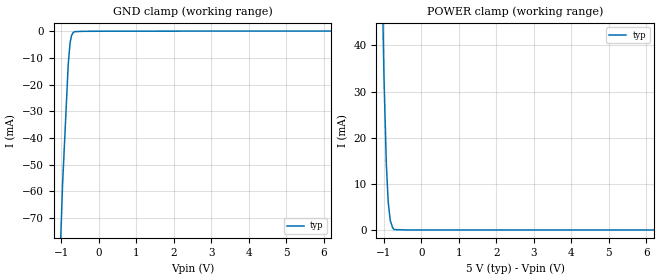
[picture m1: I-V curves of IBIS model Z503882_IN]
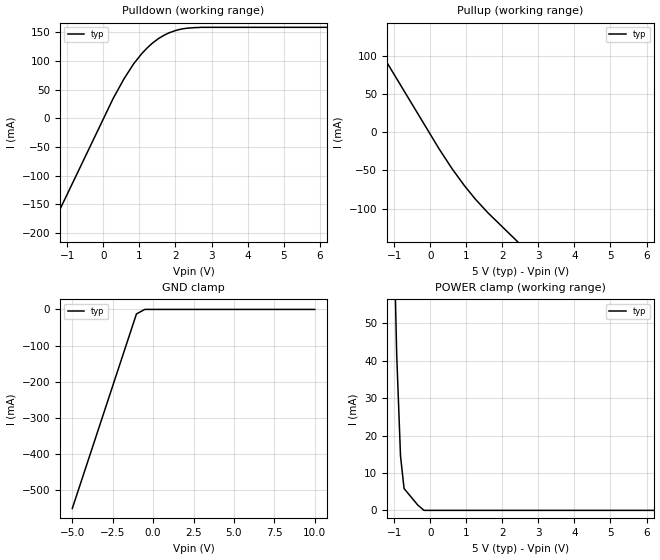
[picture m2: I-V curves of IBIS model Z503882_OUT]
| YOU ARE ONLY AUTHORIZED TO USE THIS SOFTWARE
| ACCORDING TO LICENSOR'S LICENSE RESTRICTIONS.
[IBIS Ver] 3.1
[File Name] mc74act810n.ibs
[File Rev] 2.0
[Source] Measured and created by ICX Technology
[Date] Friday 7/14/00 9:08:02 AM
[Copyright]
| (C) COPYRIGHT 1993-2000
| MENTOR GRAPHICS CORPORATION
| ICX STANDARD LIBRARY, ICX PROJECT MODELING,
| ICX CUSTOM MODELING, ICX VENDOR MODEL
| ALL RIGHTS RESERVED.
| THE FOLLOWING ARE TRADEMARKS OR SERVICE MARKS OF
| MENTOR GRAPHICS CORPORATION:ICX (R), ICX STANDARD
| LIBRARY(R), ICX PROJECT MODELING(R), ICX CUSTOM
| MODELING(R), qualityIBIS(TM), MODELVIEWER(TM),
| AND MODELEDITOR(TM)
| ALL COPIES OF SOFTWARE, INCLUDING BUT NOT LIMITED TO
| ANY MODIFICATIONS, ENHANCEMENTS OR DERIVATIVE WORKS,
| MUST CONTAIN ALL MENTOR GRAPHICS CORPORATION'S
| NOTICES AND LEGENDS, INCLUDING THOSE EMBEDDED IN
| SOFTWARE AND THOSE AFFIXED TO SOFTWARE MEDIUM
| AND CONTAINER, AS RECEIVED FROM MENTOR GRAPHICS
| CORPORATION.
|  ZAP Model Builder 2.7
[Component] MC74ACT810N
[Manufacturer] OnSemiconductor
[Package]
| variable   typ   min   max
R_pkg  .21ohms NA NA
L_pkg  4.543nH NA NA
C_pkg  1.059pF NA NA
[Pin] signal_name  model_name  R_pin  L_pin C_pin
1 A Z503882_IN .22 6.757n 1.432p
2 B Z503882_IN .212 4.757n 1.142p
3 Y Z503882_OUT .204 3.257n .852p
4 A Z503882_IN .196 2.257n .562p
5 B Z503882_IN .204 3.257n .852p
6 Y Z503882_OUT .212 4.757n 1.142p
7 GND GND .22 6.757n 1.432p
8 Y Z503882_OUT .22 6.757n 1.432p
9 A Z503882_IN .212 4.757n 1.142p
10 B Z503882_IN .204 3.257n .852p
11 Y Z503882_OUT .196 2.257n .562p
12 A Z503882_IN .204 3.257n .852p
13 B Z503882_IN .212 4.757n 1.142p
14 VCC POWER .22 6.757n 1.432p
| Models and submodels in the file (2): Z503882_IN (Input), Z503882_OUT (Output)
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| (C) COPYRIGHT 1993-2000
| MENTOR GRAPHICS CORPORATION
| ICX STANDARD LIBRARY, ICX PROJECT MODELING,
| ICX CUSTOM MODELING, ICX VENDOR MODEL
| ALL RIGHTS RESERVED.
| THE FOLLOWING ARE TRADEMARKS OR SERVICE MARKS OF
| MENTOR GRAPHICS CORPORATION:ICX (R), ICX STANDARD
| LIBRARY(R), ICX PROJECT MODELING(R), ICX CUSTOM
| MODELING(R), qualityIBIS(TM), MODELVIEWER(TM),
| AND MODELEDITOR(TM)
| ALL COPIES OF SOFTWARE, INCLUDING BUT NOT LIMITED TO
| ANY MODIFICATIONS, ENHANCEMENTS OR DERIVATIVE WORKS,
| MUST CONTAIN ALL MENTOR GRAPHICS CORPORATION'S
| NOTICES AND LEGENDS, INCLUDING THOSE EMBEDDED IN
| SOFTWARE AND THOSE AFFIXED TO SOFTWARE MEDIUM
| AND CONTAINER, AS RECEIVED FROM MENTOR GRAPHICS
| CORPORATION.
| Model Application Version 1.89 2/18/99.
[Model] Z503882_IN
Model_type Input
Vinl = 800.0mV
Vinh = 2.000V
C_comp 4.000pF NA NA
| variable typ   min   max
[Voltage Range] 5.000V NA NA
[GND Clamp Reference] 0.000V NA NA
[POWER Clamp Reference] 5.000V NA NA
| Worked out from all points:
|   GND clamp passes 1 mA (typ) near -0.71 V on its own axis
|   POWER clamp passes 1 mA (typ) near -0.79 V on its own axis
[GND Clamp]
-5V       -2.171A    NA         NA
-1.05V    -92.02mA   NA         NA
-966.6mV  -57.27mA   NA         NA
-815.3mV  -12.18mA   NA         NA
-765.6mV  -4.192mA   NA         NA
-727.9mV  -1.511mA   NA         NA
-684.2mV  -397.4uA   NA         NA
-645.4mV  -64.27uA   NA         NA
10V       160.4uA    NA         NA
[POWER Clamp]
-5V       2.969A     NA         NA
-1.147V   113.8mA    NA         NA
-1.049V   56.36mA    NA         NA
-996mV    33.17mA    NA         NA
-933mV    14.33mA    NA         NA
-884mV    6.114mA    NA         NA
-829mV    2.072mA    NA         NA
-767mV    536.2uA    NA         NA
-728mV    85.6uA     NA         NA
-364mV    0A         NA         NA
10V       0A         NA         NA
| (C) COPYRIGHT 1993-2000
| MENTOR GRAPHICS CORPORATION
| ICX STANDARD LIBRARY, ICX PROJECT MODELING,
| ICX CUSTOM MODELING, ICX VENDOR MODEL
| ALL RIGHTS RESERVED.
| THE FOLLOWING ARE TRADEMARKS OR SERVICE MARKS OF
| MENTOR GRAPHICS CORPORATION:ICX (R), ICX STANDARD
| LIBRARY(R), ICX PROJECT MODELING(R), ICX CUSTOM
| MODELING(R), qualityIBIS(TM), MODELVIEWER(TM),
| AND MODELEDITOR(TM)
| ALL COPIES OF SOFTWARE, INCLUDING BUT NOT LIMITED TO
| ANY MODIFICATIONS, ENHANCEMENTS OR DERIVATIVE WORKS,
| MUST CONTAIN ALL MENTOR GRAPHICS CORPORATION'S
| NOTICES AND LEGENDS, INCLUDING THOSE EMBEDDED IN
| SOFTWARE AND THOSE AFFIXED TO SOFTWARE MEDIUM
| AND CONTAINER, AS RECEIVED FROM MENTOR GRAPHICS
| CORPORATION.
| Model Application Version 1.89 2/18/99.
[Model] Z503882_OUT
Model_type Output
Vref=0.000V
Rref=500.0ohms
Cref=50.00pF
Vmeas=1.500V
C_comp 8.000pF NA NA
| variable typ   min   max
[Voltage Range] 5.000V NA NA
[POWER Clamp Reference] 5.000V NA NA
[Pullup Reference] 5.000V NA NA
[Pulldown Reference] 0.000V NA NA
[GND Clamp Reference] 0.000V NA NA
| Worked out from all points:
|   slope of the pulldown table from 0 to 0.75 V, typ, clamps not added: 8.61 ohm
|   slope of the pullup table from 0 to 0.75 V, typ, clamps not added: 13.8 ohm
|   POWER clamp passes 1 mA (typ) near -0.30 V on its own axis
[GND Clamp]
-5V       -550mA     NA         NA
-1.03V    -12.48mA   NA         NA
-515mV    0A         NA         NA
10V       0A         NA         NA
[Pulldown]
-5V       -655.3mA   NA         NA
269.8mV   34.66mA    NA         NA
571.8mV   69.1mA     NA         NA
840.1mV   95.26mA    NA         NA
1.065V    113mA      NA         NA
1.362V    131.4mA    NA         NA
1.533V    139.4mA    NA         NA
1.821V    149.2mA    NA         NA
2.212V    156.3mA    NA         NA
2.71V     158.8mA    NA         NA
10V       158.8mA    NA         NA
[Pullup]
-5V       387.6mA    NA         NA
240mV     -21.64mA   NA         NA
610mV     -48.32mA   NA         NA
947mV     -70.14mA   NA         NA
1.25V     -87.72mA   NA         NA
1.607V    -106mA     NA         NA
10V       -491.2mA   NA         NA
[POWER Clamp]
-5V       2.103A     NA         NA
-1.048V   90.94mA    NA         NA
-932mV    41.7mA     NA         NA
-826mV    14.55mA    NA         NA
-727mV    5.829mA    NA         NA
-347mV    1.42mA     NA         NA
-173.5mV  0A         NA         NA
10V       0A         NA         NA
[Ramp]
| variable typ min max
dV/dt_r 2.944/419.2p NA NA
dV/dt_f 2.944/1.180n NA NA
R_load = 500.0Ohms
